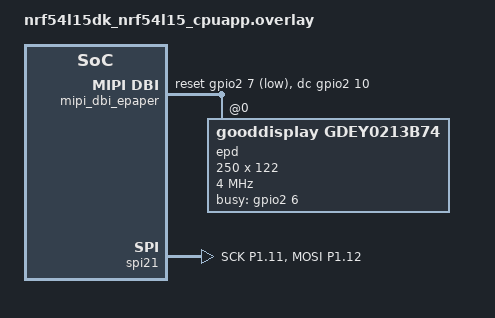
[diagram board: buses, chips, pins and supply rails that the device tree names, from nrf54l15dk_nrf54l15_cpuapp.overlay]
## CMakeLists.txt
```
cmake_minimum_required(VERSION 3.20.0)
find_package(Zephyr REQUIRED HINTS $ENV{ZEPHYR_BASE})

project(etiqueta)

target_sources(app PRIVATE src/main.c)
```

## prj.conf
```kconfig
CONFIG_STDOUT_CONSOLE=y

CONFIG_HEAP_MEM_POOL_SIZE=16384

CONFIG_DISPLAY=y

CONFIG_LOG=y

CONFIG_CFB_LOG_LEVEL_DBG=y
CONFIG_CHARACTER_FRAMEBUFFER=y


CONFIG_BT=y
CONFIG_BT_DEVICE_NAME="HAMMER"
CONFIG_BT_PERIPHERAL=y
```

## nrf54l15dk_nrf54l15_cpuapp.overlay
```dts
/* For more help, browse the devicetree documentation at https://docs.zephyrproject.org/latest/build/dts/index.html
 * You can also visit the nRF DeviceTree extension documentation at https://docs.nordicsemi.com/bundle/nrf-connect-vscode/page/guides/ncs_configure_app.html#devicetree-support-in-the-extension
 */
&pinctrl {
	spi21_default: spi21_default{
		group1 {
			psels = <NRF_PSEL(SPIM_SCK,	1,	11)>,
				<NRF_PSEL(SPIM_MOSI,	1,	12)>;
		};
	};
	spi21_sleep: spi21_sleep{
		group1 {
			psels = <NRF_PSEL(SPIM_SCK,	1,	11)>,
				<NRF_PSEL(SPIM_MOSI,	1,	12)>;
			low-power-enable;
		};
	};
};
&spi21 {
	status	= "okay";
	pinctrl-0 = <&spi21_default>;
	pinctrl-1 = <&spi21_sleep>;
	pinctrl-names = "default", "sleep";
	cs-gpios = <&gpio2 8 GPIO_ACTIVE_LOW>;
};
/{
	chosen {
		zephyr,display = &epd;
	};

	mipi_dbi_epaper{
		compatible	= "zephyr,mipi-dbi-spi";
		spi-dev		= <&spi21>;
		dc-gpios	= <&gpio2 10 GPIO_ACTIVE_HIGH>;
		reset-gpios	= <&gpio2 7  GPIO_ACTIVE_LOW>;
		#address-cells	= <1>;
		#size-cells	= <0>;

		epd: ssd16xxfb@0{
			compatible		= "gooddisplay,gdey0213b74","solomon,ssd1680";
			mipi-max-frequency	= <4000000>;
			reg			= <0>;
			width			= <250>;
			height			= <122>;
			busy-gpios		= <&gpio2 6 GPIO_ACTIVE_HIGH>;
			tssv			= <0x80>;
			full			  {border-waveform = <0x05>;};
			partial			  {border-waveform = <0x3c>;};

		};
	};
};
```

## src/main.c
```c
#include <zephyr/kernel.h>
#include <zephyr/device.h>
#include <zephyr/display/cfb.h>
#include <zephyr/logging/log.h>

/*Le metemos los includes del BT*/
#include <zephyr/bluetooth/bluetooth.h>
#include <zephyr/bluetooth/gap.h>

/*Definimos CONFIG_NAME Y DEVICE NAME LEN*/
#define DEVICE_NAME CONFIG_BT_DEVICE_NAME
#define DEVICE_NAME_LEN (sizeof(DEVICE_NAME)-1)

LOG_MODULE_REGISTER(etiqueta, LOG_LEVEL_INF);

/*Los datos del anuncio*/
static const struct bt_data ad[] = {
        //AD 1: Flags | BT_DATA_BYTES construye la estructura con bytes sueltos
        BT_DATA_BYTES(BT_DATA_FLAGS, BT_LE_AD_GENERAL | BT_LE_AD_NO_BREDR),
        //AD 2: Nombre completo. BT_DATA construye desde un buffer + logitud
        BT_DATA(BT_DATA_NAME_COMPLETE, DEVICE_NAME, DEVICE_NAME_LEN),

};
//Declaro el advparam
static const struct bt_le_adv_param *adv_param = 
        BT_LE_ADV_PARAM(BT_LE_ADV_OPT_CONN,800,801,NULL);

int main(void)
{       
        //Inicializo el stack BLE
        int err = bt_enable(NULL);
        if(err){return -1;} else {LOG_INF("BT LISTO\n");};
        
        //arrando el adversting 
        err = bt_le_adv_start(adv_param, ad, ARRAY_SIZE(ad),NULL,0);
        /* Aqui crea la estructura del device
         lo que no estoy seguro es el por qué de
         esos nombres */
        if (err) { LOG_ERR("Adv fallo (err %d)", err); return 0; }
        LOG_INF("Anunciando como %s", DEVICE_NAME);
        const struct device *dev;


        /*Elegir mi pantalla y lo guardo en mi dev*/
        dev = DEVICE_DT_GET(DT_CHOSEN(zephyr_display));
        /*Verificamos si esta ready, es un device*/
        if(!device_is_ready(dev)){
                LOG_ERR("Pantalla no esta lista");
                return 0;};
        /*apago el blanking*/
        display_blanking_off(dev);
        //inizializo
        if(cfb_framebuffer_init(dev)){
                LOG_ERR("Pantala init fallo");
                return 0;};
        //limpio
        cfb_framebuffer_clear(dev,true);
        //escribo 
        cfb_print(dev,"Hola Familia!!",0,0);
        //finalizo
        cfb_framebuffer_finalize(dev);

        



}
```
